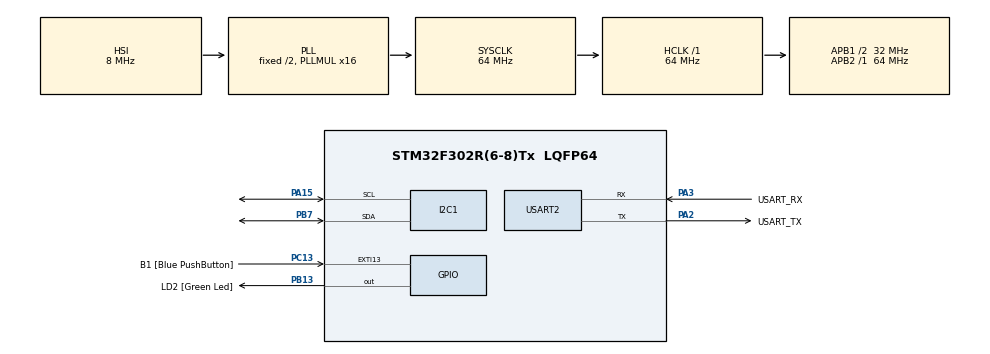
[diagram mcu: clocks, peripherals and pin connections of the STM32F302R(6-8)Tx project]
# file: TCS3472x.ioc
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Mcu.Family=STM32F3
Mcu.Name=STM32F302R(6-8)Tx
Mcu.Package=LQFP64
NVIC.PriorityGroup=NVIC_PRIORITYGROUP_0
PA13.GPIO_Label=TMS
PA13.Mode=Serial_Wire
PA13.Signal=SYS_JTMS-SWDIO
PA14.GPIO_Label=TCK
PA14.Mode=Serial_Wire
PA14.Signal=SYS_JTCK-SWCLK
PA15.Mode=I2C
PA15.Signal=I2C1_SCL
PA2.GPIO_Label=USART_TX
PA2.GPIO_Mode=GPIO_MODE_AF_PP
PA2.GPIO_PuPd=GPIO_NOPULL
PA2.GPIO_Speed=GPIO_SPEED_FREQ_LOW
PA2.Mode=Asynchronous
PA2.Signal=USART2_TX
PA3.GPIO_Label=USART_RX
PA3.GPIO_Mode=GPIO_MODE_AF_PP
PA3.GPIO_PuPd=GPIO_NOPULL
PA3.GPIO_Speed=GPIO_SPEED_FREQ_LOW
PA3.Mode=Asynchronous
PA3.Signal=USART2_RX
PB13.GPIO_Label=LD2 [Green Led]
PB13.Signal=GPIO_Output
PB3.GPIO_Label=SWO
PB3.Mode=Trace_Asynchronous_SW
PB3.Signal=SYS_JTDO-TRACESWO
PB7.Mode=I2C
PB7.Signal=I2C1_SDA
PC13.GPIO_Label=B1 [Blue PushButton]
PC13.GPIO_ModeDefaultEXTI=GPIO_MODE_IT_FALLING
PC13.Signal=GPXTI13
PC14\ -\ OSC32_IN.Mode=LSE-External-Oscillator
PC14\ -\ OSC32_IN.Signal=RCC_OSC32_IN
PC15\ -\ OSC32_OUT.Mode=LSE-External-Oscillator
PC15\ -\ OSC32_OUT.Signal=RCC_OSC32_OUT
PF0-OSC_IN.Mode=HSE-External-Clock-Source
PF0-OSC_IN.Signal=RCC_OSC_IN
PF1-OSC_OUT.Signal=RCC_OSC_OUT
ProjectManager.HeapSize=0x200
ProjectManager.StackSize=0x400
ProjectManager.TargetToolchain=STM32CubeIDE
RCC.AHBFreq_Value=64000000
RCC.APB1CLKDivider=RCC_HCLK_DIV2
RCC.APB1Freq_Value=32000000
RCC.APB1TimFreq_Value=64000000
RCC.APB2Freq_Value=64000000
RCC.APB2TimFreq_Value=64000000
RCC.CortexFreq_Value=64000000
RCC.HCLKFreq_Value=64000000
RCC.HSE_VALUE=8000000
RCC.HSI_VALUE=8000000
RCC.PLLM=8
RCC.PLLMUL=RCC_PLL_MUL16
RCC.PLLN=336
RCC.PLLP=RCC_PLLP_DIV4
RCC.PLLQ=7
RCC.RCC_PLLsource_Clock_Source_FROM_HSE=RCC_HSE_PREDIV_DIV2
RCC.SYSCLKFreq_VALUE=64000000
RCC.SYSCLKSourceVirtual=RCC_SYSCLKSOURCE_PLLCLK
RCC.USBFreq_Value=64000000
USART2.VirtualMode-Asynchronous=VM_ASYNC
board=NUCLEO-F302R8

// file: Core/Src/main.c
/* USER CODE BEGIN Header */
/**
  ******************************************************************************
  * @file           : main.c
  * @brief          : Main program body
  ******************************************************************************
  * @attention
  *
  * Copyright (c) 2024 STMicroelectronics.
  * All rights reserved.
  *
  * This software is licensed under terms that can be found in the LICENSE file
  * in the root directory of this software component.
  * If no LICENSE file comes with this software, it is provided AS-IS.
  *
  ******************************************************************************
  */
/* USER CODE END Header */
#include "main.h"

/* USER CODE BEGIN Includes */
#include <stdio.h>
#include "tcs3472x.h"
/* USER CODE END Includes */

/* USER CODE BEGIN PD */
#define STDOUT_FILENO 1
#define STDERR_FILENO 2
/* USER CODE END PD */

I2C_HandleTypeDef hi2c1;

UART_HandleTypeDef huart2;

/* USER CODE BEGIN PV */
static const uint8_t TCS3472X_ADDR = 0x29 << 1;

uint16_t all_colors[4] = {0};
uint8_t tcs3472x_id = 0;
float integration_time, actual_integration_time = 0;
/* USER CODE END PV */

int _write(int file, char *data, int len);
void SystemClock_Config(void);
static void MX_GPIO_Init(void);
static void MX_I2C1_Init(void);
static void MX_USART2_UART_Init(void);

int main(void)
{

  /* MCU Configuration--------------------------------------------------------*/

  /* Reset of all peripherals, Initializes the Flash interface and the Systick. */
  HAL_Init();

  /* Configure the system clock */
  SystemClock_Config();

  /* Initialize all configured peripherals */
  MX_GPIO_Init();
  MX_I2C1_Init();
  MX_USART2_UART_Init();
  /* USER CODE BEGIN 2 */
  tcs3472x_init();

  /* USER CODE END 2 */

  /* Infinite loop */
  /* USER CODE BEGIN WHILE */

  tcs3472x_id = tcs3472x_get_id();
  actual_integration_time = tcs3472x_set_atime(111.0f);
  integration_time = tcs3472x_get_atime();

  while (1)
  {
	  tcs3472x_get_all_colors_data(all_colors);

	  HAL_Delay(1000);
    /* USER CODE END WHILE */

  }
}

void SystemClock_Config(void)
{
  RCC_OscInitTypeDef RCC_OscInitStruct = {0};
  RCC_ClkInitTypeDef RCC_ClkInitStruct = {0};
  RCC_PeriphCLKInitTypeDef PeriphClkInit = {0};

  /** Initializes the RCC Oscillators according to the specified parameters
  * in the RCC_OscInitTypeDef structure.
  */
  RCC_OscInitStruct.OscillatorType = RCC_OSCILLATORTYPE_HSI;
  RCC_OscInitStruct.HSIState = RCC_HSI_ON;
  RCC_OscInitStruct.HSICalibrationValue = RCC_HSICALIBRATION_DEFAULT;
  RCC_OscInitStruct.PLL.PLLState = RCC_PLL_ON;
  RCC_OscInitStruct.PLL.PLLSource = RCC_PLLSOURCE_HSI;
  RCC_OscInitStruct.PLL.PLLMUL = RCC_PLL_MUL16;
  if (HAL_RCC_OscConfig(&RCC_OscInitStruct) != HAL_OK)
  {
    Error_Handler();
  }

  /** Initializes the CPU, AHB and APB buses clocks
  */
  RCC_ClkInitStruct.ClockType = RCC_CLOCKTYPE_HCLK|RCC_CLOCKTYPE_SYSCLK
                              |RCC_CLOCKTYPE_PCLK1|RCC_CLOCKTYPE_PCLK2;
  RCC_ClkInitStruct.SYSCLKSource = RCC_SYSCLKSOURCE_PLLCLK;
  RCC_ClkInitStruct.AHBCLKDivider = RCC_SYSCLK_DIV1;
  RCC_ClkInitStruct.APB1CLKDivider = RCC_HCLK_DIV2;
  RCC_ClkInitStruct.APB2CLKDivider = RCC_HCLK_DIV1;

  if (HAL_RCC_ClockConfig(&RCC_ClkInitStruct, FLASH_LATENCY_2) != HAL_OK)
  {
    Error_Handler();
  }
  PeriphClkInit.PeriphClockSelection = RCC_PERIPHCLK_I2C1;
  PeriphClkInit.I2c1ClockSelection = RCC_I2C1CLKSOURCE_HSI;
  if (HAL_RCCEx_PeriphCLKConfig(&PeriphClkInit) != HAL_OK)
  {
    Error_Handler();
  }
}

static void MX_I2C1_Init(void)
{

  hi2c1.Instance = I2C1;
  hi2c1.Init.Timing = 0x2000090E;
  hi2c1.Init.OwnAddress1 = 0;
  hi2c1.Init.AddressingMode = I2C_ADDRESSINGMODE_7BIT;
  hi2c1.Init.DualAddressMode = I2C_DUALADDRESS_DISABLE;
  hi2c1.Init.OwnAddress2 = 0;
  hi2c1.Init.OwnAddress2Masks = I2C_OA2_NOMASK;
  hi2c1.Init.GeneralCallMode = I2C_GENERALCALL_DISABLE;
  hi2c1.Init.NoStretchMode = I2C_NOSTRETCH_DISABLE;
  if (HAL_I2C_Init(&hi2c1) != HAL_OK)
  {
    Error_Handler();
  }

  /** Configure Analogue filter
  */
  if (HAL_I2CEx_ConfigAnalogFilter(&hi2c1, I2C_ANALOGFILTER_ENABLE) != HAL_OK)
  {
    Error_Handler();
  }

  /** Configure Digital filter
  */
  if (HAL_I2CEx_ConfigDigitalFilter(&hi2c1, 0) != HAL_OK)
  {
    Error_Handler();
  }

}

static void MX_USART2_UART_Init(void)
{

  huart2.Instance = USART2;
  huart2.Init.BaudRate = 115200;
  huart2.Init.WordLength = UART_WORDLENGTH_8B;
  huart2.Init.StopBits = UART_STOPBITS_1;
  huart2.Init.Parity = UART_PARITY_NONE;
  huart2.Init.Mode = UART_MODE_TX_RX;
  huart2.Init.HwFlowCtl = UART_HWCONTROL_NONE;
  huart2.Init.OverSampling = UART_OVERSAMPLING_16;
  huart2.Init.OneBitSampling = UART_ONE_BIT_SAMPLE_DISABLE;
  huart2.AdvancedInit.AdvFeatureInit = UART_ADVFEATURE_NO_INIT;
  if (HAL_UART_Init(&huart2) != HAL_OK)
  {
    Error_Handler();
  }

}

static void MX_GPIO_Init(void)
{
  GPIO_InitTypeDef GPIO_InitStruct = {0};

  /* GPIO Ports Clock Enable */
  __HAL_RCC_GPIOC_CLK_ENABLE();
  __HAL_RCC_GPIOF_CLK_ENABLE();
  __HAL_RCC_GPIOA_CLK_ENABLE();
  __HAL_RCC_GPIOB_CLK_ENABLE();

  /*Configure GPIO pin Output Level */
  HAL_GPIO_WritePin(LD2_GPIO_Port, LD2_Pin, GPIO_PIN_RESET);

  /*Configure GPIO pin : B1_Pin */
  GPIO_InitStruct.Pin = B1_Pin;
  GPIO_InitStruct.Mode = GPIO_MODE_IT_FALLING;
  GPIO_InitStruct.Pull = GPIO_NOPULL;
  HAL_GPIO_Init(B1_GPIO_Port, &GPIO_InitStruct);

  /*Configure GPIO pin : LD2_Pin */
  GPIO_InitStruct.Pin = LD2_Pin;
  GPIO_InitStruct.Mode = GPIO_MODE_OUTPUT_PP;
  GPIO_InitStruct.Pull = GPIO_NOPULL;
  GPIO_InitStruct.Speed = GPIO_SPEED_FREQ_LOW;
  HAL_GPIO_Init(LD2_GPIO_Port, &GPIO_InitStruct);

}

/* USER CODE BEGIN 4 */
int _write(int file, char *data, int len) {
    // Check if the file descriptor is stdout or stderr
    if (file == STDOUT_FILENO || file == STDERR_FILENO) {
        HAL_UART_Transmit(&huart2, (uint8_t *)data, len, HAL_MAX_DELAY);  // Transmit data over UART
        return len;
    }
    // Return error if file descriptor is not handled
    return -1;
}

int8_t tcs3472x_i2c_hal_write(uint8_t *buffer, uint16_t length)
{
	HAL_StatusTypeDef status;
	status = HAL_I2C_Master_Transmit(&hi2c1, TCS3472X_ADDR, buffer, length, 1000);

	if(status != HAL_OK)
	{
		return -1;
	}
	return 0;
}

int8_t tcs3472x_i2c_hal_read(uint8_t *buffer, uint16_t length)
{
	HAL_StatusTypeDef status;
	status = HAL_I2C_Master_Receive(&hi2c1, TCS3472X_ADDR, buffer, length, 1000);

	if(status != HAL_OK)
	{
		return -1;
	}
	return 0;
}

/* USER CODE END 4 */

void Error_Handler(void)
{
  __disable_irq();
  while (1)
  {
  }
}
